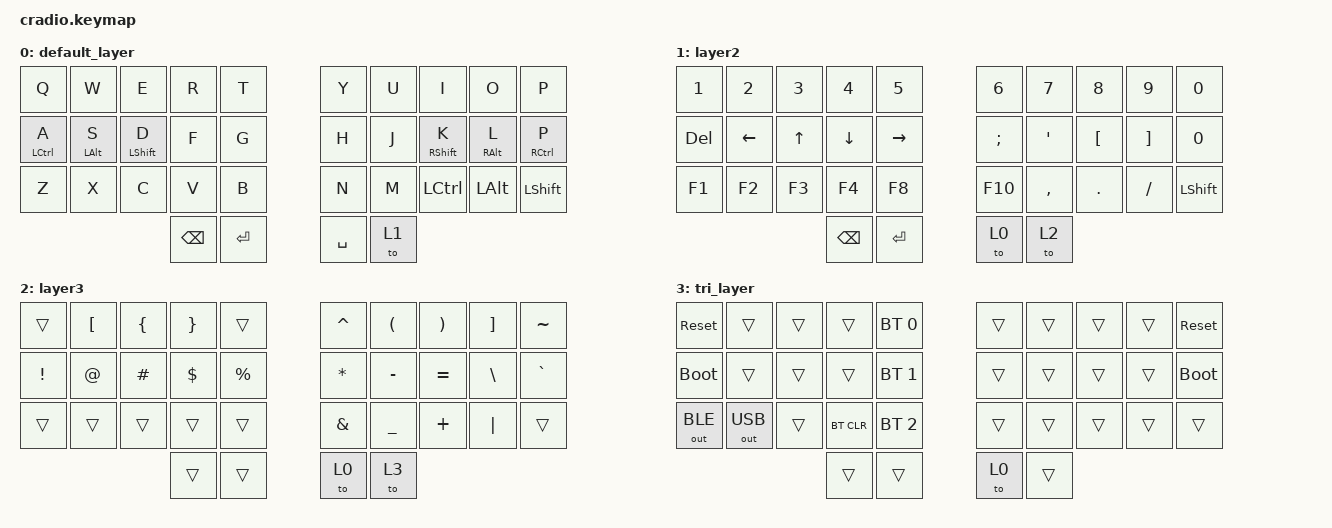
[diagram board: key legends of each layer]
// Copyright (c) 2022 The ZMK Contributors
// SPDX-License-Identifier: MIT

#include <behaviors.dtsi>
#include <dt-bindings/zmk/bt.h>
#include <dt-bindings/zmk/keys.h>
#include <dt-bindings/zmk/outputs.h>

// Home row mods macro

#define HRML(k1,k2,k3,k4) &ht LSHFT k1  &ht LALT k2  &ht LCTRL k3  &ht LGUI k4
#define HRMR(k1,k2,k3,k4) &ht RGUI k1  &ht RCTRL k2  &ht RALT k3  &ht RSHFT k4

/ {
    behaviors {
        ht: hold_tap {
            compatible = "zmk,behavior-hold-tap";
            #binding-cells = <2>;
            flavor = "tap-preferred";
            tapping-term-ms = <220>;
            quick-tap-ms = <150>;
            require-prior-idle-ms = <100>;
            bindings = <&kp>, <&kp>;
        };
    };

    conditional_layers { compatible = "zmk,conditional-layers"; };

    combos {
        compatible = "zmk,combos";

        copy {
            bindings = <&kp LC(C)>;
            key-positions = <20 21>;
        };

        paste {
            bindings = <&kp LC(V)>;
            key-positions = <21 22>;
        };

        undo {
            bindings = <&kp LC(Z)>;
            key-positions = <22 23>;
        };

        ESCe {
            bindings = <&kp ESC>;
            key-positions = <0 1>;
        };

        WindowsButton {
            bindings = <&kp LEFT_WIN>;
            key-positions = <2 3>;
        };

        queston {
            bindings = <&kp QUESTION>;
            key-positions = <29 28>;
        };

        exclam {
            bindings = <&kp EXCLAMATION>;
            key-positions = <19 18>;
        };

        period {
            bindings = <&kp PERIOD>;
            key-positions = <26 27>;
        };

        com {
            bindings = <&kp COMMA>;
            key-positions = <27 28>;
        };

        atros {
            bindings = <&kp APOSTROPHE>;
            key-positions = <17 18>;
        };

        lbrack {
            bindings = <&kp LEFT_PARENTHESIS>;
            key-positions = <5 6>;
        };

        rbrac {
            bindings = <&kp RIGHT_PARENTHESIS>;
            key-positions = <7 8>;
        };

        dassh {
            bindings = <&kp MINUS>;
            key-positions = <13 14>;
        };

        pup {
            bindings = <&kp PAGE_UP>;
            key-positions = <20 10>;
        };

        pdown {
            bindings = <&kp PAGE_DOWN>;
            key-positions = <19 29>;
        };

        homesweet {
            bindings = <&kp HOME>;
            key-positions = <4 5>;
        };

        snipsnip {
            bindings = <&kp LCTRL>;
            key-positions = <11 13>;
        };

        selectall {
            bindings = <&kp LC(A)>;
            key-positions = <10 11>;
        };

        tzbb {
            bindings = <&kp TAB>;
            key-positions = <16 17>;
        };

        deldel {
            bindings = <&kp DELETE>;
            key-positions = <12 13>;
        };
    };

    macros {
        new_macro: new_macro {
            compatible = "zmk,behavior-macro";
            #binding-cells = <0>;
            bindings = <&kp LEFT_GUI &kp LEFT_SHIFT &kp S>;
            label = "NEW_MACRO";
        };
    };

    keymap {
        compatible = "zmk,keymap";

        default_layer {
            bindings = <
&kp Q        &kp W           &kp E             &kp R          &kp T        &kp Y      &kp U  &kp I              &kp O            &kp P
&ht LCTRL A  &ht LEFT_ALT S  &ht LEFT_SHIFT D  &kp F          &kp G        &kp H      &kp J  &ht RIGHT_SHIFT K  &ht RIGHT_ALT L  &ht RCTRL P
&kp Z        &kp X           &kp C             &kp V          &kp B        &kp N      &kp M  &kp LEFT_CONTROL   &kp LEFT_ALT     &kp LEFT_SHIFT
                                               &kp BACKSPACE  &kp ENTER    &kp SPACE  &to 1
            >;
        };

        layer2 {
            bindings = <
&kp NUMBER_1  &kp NUMBER_2  &kp NUMBER_3  &kp NUMBER_4   &kp N5       &kp NUMBER_6   &kp N7     &kp N8            &kp N9             &kp N0
&kp DEL       &kp LEFT      &kp UP_ARROW  &kp DOWN       &kp RIGHT    &kp SEMICOLON  &kp SQT    &kp LEFT_BRACKET  &kp RIGHT_BRACKET  &kp NUMBER_0
&kp F1        &kp F2        &kp F3        &kp F4         &kp F8       &kp F10        &kp COMMA  &kp PERIOD        &kp SLASH          &kp LEFT_SHIFT
                                          &kp BACKSPACE  &kp ENTER    &to 0          &to 2
            >;
        };

        layer3 {
            bindings = <
&trans    &kp LBKT  &kp LBRC  &kp RBRC  &trans       &kp CARET  &kp LPAR   &kp RPAR   &kp RBKT  &kp TILDE
&kp EXCL  &kp AT    &kp HASH  &kp DLLR  &kp PRCNT    &kp ASTRK  &kp MINUS  &kp EQUAL  &kp BSLH  &kp GRAVE
&trans    &trans    &trans    &trans    &trans       &kp AMPS   &kp UNDER  &kp PLUS   &kp PIPE  &trans
                              &trans    &trans       &to 0      &to 3
            >;
        };

        tri_layer {
            bindings = <
&sys_reset    &trans        &trans  &trans      &bt BT_SEL 0    &trans  &trans  &trans  &trans  &sys_reset
&bootloader   &trans        &trans  &trans      &bt BT_SEL 1    &trans  &trans  &trans  &trans  &bootloader
&out OUT_BLE  &out OUT_USB  &trans  &bt BT_CLR  &bt BT_SEL 2    &trans  &trans  &trans  &trans  &trans
                                    &trans      &trans          &to 0   &trans
            >;
        };
    };
};
